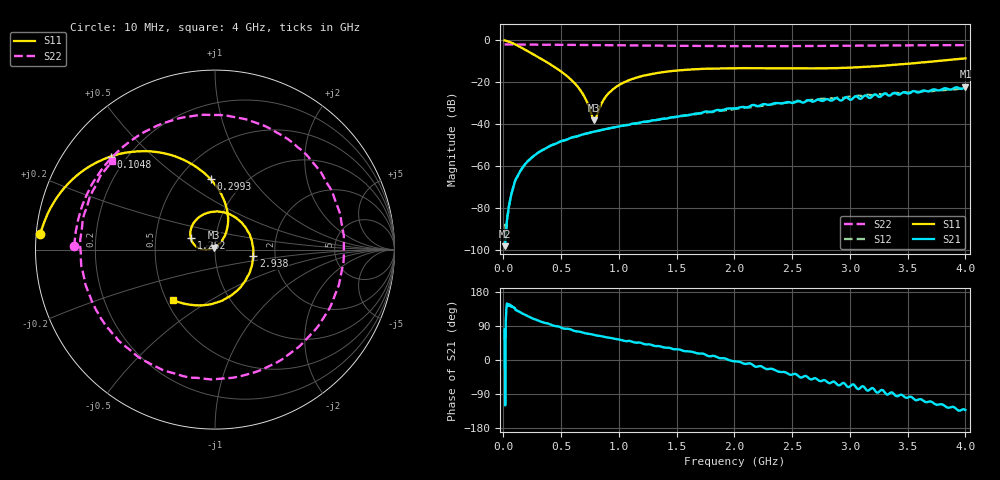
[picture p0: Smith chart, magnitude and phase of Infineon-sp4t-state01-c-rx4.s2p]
! 5/5/2016 5:09:10 PM
! C:\ANRITSUVNA\DATA\INFINEON-SP4T-STATE01-C-RX4.S2P
! CHANNEL.1
! TR.MEASUREMENT
! CORRECTED.DATA
# GHZ S RI R 50.0
! FREQ.GHZ  S11RE  S11IM  S21RE  S21IM  S12RE  S12IM  S22RE  S22IM
!; PortSelection: Port_12
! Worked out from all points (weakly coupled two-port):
!   801 points, 10 MHz to 4 GHz, reference 50 ohm
!   highest |S21| = -22.28 dB at 4 GHz (marker M1); lowest = -98.4 dB at 10 MHz (marker M2)
!   lowest |S11| = -38.3 dB at 783.1 MHz (marker M3), VSWR 1.02, Z = 49.5 + j1.12 ohm
!   |S11| at or under -10 dB: 358.2 MHz to 3.764 GHz (3.406 GHz wide, 165 % of centre)
!   |S22| runs from -2.9 to -2.1 dB; largest |S21 - S12| = 0.01
!   S11 on the Smith chart (normalised r, x): 10 MHz: 0.01, +0.05; 104.8 MHz: 0.14, +0.37; 299.3 MHz: 0.70, +0.65; 1.252 GHz: 0.76, +0.10; 2.938 GHz: 1.54, -0.12; 4 GHz: 0.54, -0.35
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0.01  -0.9731 0.0882  1.9e-06 1.19e-05  -1.1e-05 1.57e-05  -0.7867 0.0222
0.0449125  -0.8613 0.3171  -8.08e-05 6.18e-05  -8.55e-05 5.76e-05  -0.7807 0.0604
0.1047625  -0.5814 0.5184  -0.000312 0.000345  -0.000317 0.000339  -0.7688 0.1374
0.18955  -0.2484 0.5281  -0.00054 0.00097  -0.000521 0.000972  -0.7402 0.2427
0.299275  -0.0249 0.3925  -0.000504 0.00198  -0.000488 0.00197  -0.6832 0.368
0.538675  0.0699 0.1291  0.000541 0.00406  0.000498 0.00409  -0.4842 0.5952
0.678325  0.0346 0.0444  0.00158 0.00528  0.00157 0.00522  -0.3358 0.6841
0.7830625  -0.00465 0.0113  0.0026 0.00597  0.00257 0.00597  -0.2121 0.7281
0.8030125  -0.0123 0.00728  0.00282 0.00604  0.00279 0.00609  -0.1887 0.7341
0.877825  -0.0414 -0.000518  0.00363 0.00648  0.00363 0.00652  -0.0961 0.7488
0.9526375  -0.0684 0.000577  0.00452 0.00686  0.0045 0.00689  -0.00205 0.7498
1.082313  -0.1073 0.0189  0.00601 0.00723  0.00619 0.00737  0.1574 0.7293
1.251888  -0.1348 0.0625  0.00848 0.00745  0.00881 0.00736  0.3544 0.6468
1.341662  -0.1378 0.0908  0.01 0.00749  0.0104 0.00725  0.4471 0.5831
1.690788  -0.0817 0.1853  0.0169 0.00519  0.0169 0.00474  0.6918 0.2147
2.005  0.0233 0.2113  0.0234 -0.00149  0.0227 -0.000858  0.6908 -0.1944
2.394025  0.1485 0.151  0.0263 -0.0162  0.0275 -0.0137  0.3791 -0.6079
2.673325  0.2005 0.0633  0.0215 -0.0262  0.0262 -0.0269  0.0188 -0.7205
2.937663  0.2135 -0.0363  0.0183 -0.0328  0.0179 -0.0376  -0.3298 -0.6518
3.336663  0.1494 -0.2002  0.000347 -0.0473  -0.00245 -0.053  -0.6888 -0.2783
3.690775  -0.0175 -0.3034  -0.0204 -0.0576  -0.027 -0.0538  -0.7368 0.1644
4  -0.2333 -0.2819  -0.0515 -0.0571  -0.0499 -0.0471  -0.5732 0.4963
